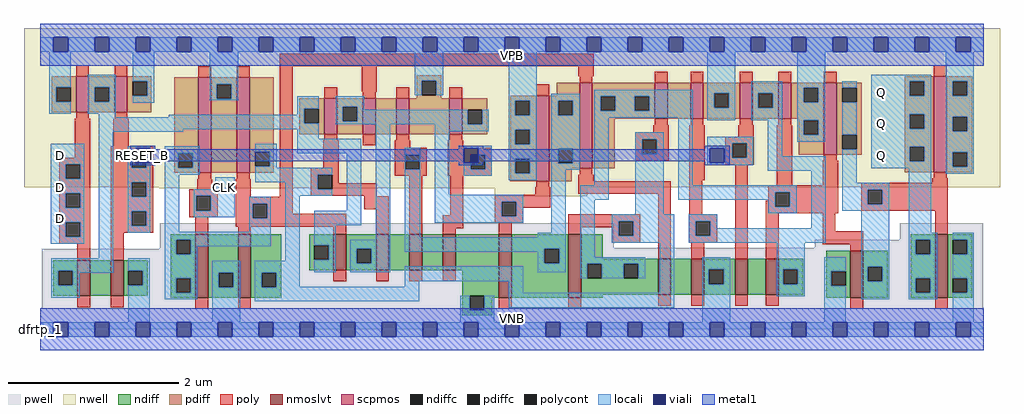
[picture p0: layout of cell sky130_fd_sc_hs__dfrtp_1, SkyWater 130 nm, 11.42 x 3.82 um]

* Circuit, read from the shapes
.subckt sky130_fd_sc_hs__dfrtp_1 CLK D RESET_B VGND VNB VPB VPWR Q
XM1 n1 D n2 VNB sky130_fd_pr__nfet_01v8_lvt w=0.42 l=0.15
XM2 VGND RESET_B n1 VNB sky130_fd_pr__nfet_01v8_lvt w=0.42 l=0.15
XM3 VGND CLK n3 VNB sky130_fd_pr__nfet_01v8_lvt w=0.74 l=0.15
XM4 n4 n3 VGND VNB sky130_fd_pr__nfet_01v8_lvt w=0.74 l=0.15
XM5 n5 n3 n2 VNB sky130_fd_pr__nfet_01v8_lvt w=0.42 l=0.15
XM6 n6 n4 n5 VNB sky130_fd_pr__nfet_01v8_lvt w=0.42 l=0.15
XM7 n7 n8 n6 VNB sky130_fd_pr__nfet_01v8_lvt w=0.42 l=0.15
XM8 VGND RESET_B n7 VNB sky130_fd_pr__nfet_01v8_lvt w=0.42 l=0.15
XM9 n8 n5 VGND VNB sky130_fd_pr__nfet_01v8_lvt w=0.74 l=0.15
XM10 n9 n4 n8 VNB sky130_fd_pr__nfet_01v8_lvt w=0.74 l=0.15
XM11 n10 n3 n9 VNB sky130_fd_pr__nfet_01v8_lvt w=0.42 l=0.15
XM12 VGND n11 n10 VNB sky130_fd_pr__nfet_01v8_lvt w=0.42 l=0.15
XM13 n12 RESET_B VGND VNB sky130_fd_pr__nfet_01v8_lvt w=0.42 l=0.15
XM14 n11 n9 n12 VNB sky130_fd_pr__nfet_01v8_lvt w=0.42 l=0.15
XM15 n13 n9 VGND VNB sky130_fd_pr__nfet_01v8_lvt w=0.55 l=0.15
XM16 VGND n13 Q VNB sky130_fd_pr__nfet_01v8_lvt w=0.74 l=0.15
XM17 n2 D VPWR VPB sky130_fd_pr__pfet_01v8 w=0.42 l=0.15
XM18 VPWR RESET_B n2 VPB sky130_fd_pr__pfet_01v8 w=0.42 l=0.15
XM19 VPWR CLK n3 VPB sky130_fd_pr__pfet_01v8 w=1.12 l=0.15
XM20 n4 n3 VPWR VPB sky130_fd_pr__pfet_01v8 w=1.12 l=0.15
XM21 n5 n4 n2 VPB sky130_fd_pr__pfet_01v8 w=0.42 l=0.15
XM22 n14 n3 n5 VPB sky130_fd_pr__pfet_01v8 w=0.42 l=0.15
XM23 VPWR n8 n14 VPB sky130_fd_pr__pfet_01v8 w=0.42 l=0.15
XM24 n5 RESET_B VPWR VPB sky130_fd_pr__pfet_01v8 w=0.42 l=0.15
XM25 n8 n5 VPWR VPB sky130_fd_pr__pfet_01v8 w=1 l=0.15
XM26 n9 n3 n8 VPB sky130_fd_pr__pfet_01v8 w=1 l=0.15
XM27 n15 n4 n9 VPB sky130_fd_pr__pfet_01v8 w=0.42 l=0.15
XM28 VPWR n11 n15 VPB sky130_fd_pr__pfet_01v8 w=0.42 l=0.15
XM29 n11 RESET_B VPWR VPB sky130_fd_pr__pfet_01v8 w=0.42 l=0.15
XM30 VPWR n9 n11 VPB sky130_fd_pr__pfet_01v8 w=0.42 l=0.15
XM31 n13 n9 VPWR VPB sky130_fd_pr__pfet_01v8 w=0.84 l=0.15
XM32 VPWR n13 Q VPB sky130_fd_pr__pfet_01v8 w=1.12 l=0.15
.ends

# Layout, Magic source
magic
tech sky130A
magscale 1 2
<< nwell >>
rect -38 332 2246 704
rect 278 330 1280 332
rect 1064 311 1280 330
<< pwell >>
rect 280 191 1342 248
rect 2011 210 2207 248
rect 1813 191 2207 210
rect 280 188 2207 191
rect 4 49 2207 188
rect 0 0 2208 49
<< scpmos >>
rect 84 508 114 592
rect 174 508 204 592
rect 370 366 400 590
rect 460 366 490 590
rect 665 457 695 541
rect 755 457 785 541
rect 833 457 863 541
rect 957 457 987 541
rect 1161 347 1191 547
rect 1262 377 1292 577
rect 1438 493 1468 577
rect 1522 493 1552 577
rect 1637 493 1667 577
rect 1727 493 1757 577
rect 1834 409 1864 577
rect 2091 368 2121 592
<< nmoslvt >>
rect 87 78 117 162
rect 165 78 195 162
rect 363 74 393 222
rect 463 74 493 222
rect 686 138 716 222
rect 786 138 816 222
rect 864 138 894 222
rect 942 138 972 222
rect 1073 74 1103 222
rect 1236 74 1266 222
rect 1446 81 1476 165
rect 1524 81 1554 165
rect 1626 81 1656 165
rect 1698 81 1728 165
rect 1896 74 1926 184
rect 2094 74 2124 222
<< ndiff >>
rect 306 210 363 222
rect 306 176 318 210
rect 352 176 363 210
rect 30 137 87 162
rect 30 103 42 137
rect 76 103 87 137
rect 30 78 87 103
rect 117 78 165 162
rect 195 137 252 162
rect 195 103 206 137
rect 240 103 252 137
rect 195 78 252 103
rect 306 120 363 176
rect 306 86 318 120
rect 352 86 363 120
rect 306 74 363 86
rect 393 132 463 222
rect 393 98 418 132
rect 452 98 463 132
rect 393 74 463 98
rect 493 132 564 222
rect 629 197 686 222
rect 629 163 641 197
rect 675 163 686 197
rect 629 138 686 163
rect 716 189 786 222
rect 716 155 741 189
rect 775 155 786 189
rect 716 138 786 155
rect 816 138 864 222
rect 894 138 942 222
rect 972 138 1073 222
rect 493 98 518 132
rect 552 98 564 132
rect 493 74 564 98
rect 987 79 1073 138
rect 987 45 1005 79
rect 1039 74 1073 79
rect 1103 188 1236 222
rect 1103 154 1180 188
rect 1214 154 1236 188
rect 1103 74 1236 154
rect 1266 165 1316 222
rect 2037 210 2094 222
rect 1266 153 1446 165
rect 1266 119 1280 153
rect 1314 119 1366 153
rect 1400 119 1446 153
rect 1266 81 1446 119
rect 1476 81 1524 165
rect 1554 140 1626 165
rect 1554 106 1565 140
rect 1599 106 1626 140
rect 1554 81 1626 106
rect 1656 81 1698 165
rect 1728 140 1785 165
rect 1728 106 1739 140
rect 1773 106 1785 140
rect 1728 81 1785 106
rect 1839 136 1896 184
rect 1839 102 1851 136
rect 1885 102 1896 136
rect 1266 74 1316 81
rect 1039 45 1058 74
rect 1839 74 1896 102
rect 1926 146 1983 184
rect 1926 112 1937 146
rect 1971 112 1983 146
rect 1926 74 1983 112
rect 2037 176 2049 210
rect 2083 176 2094 210
rect 2037 120 2094 176
rect 2037 86 2049 120
rect 2083 86 2094 120
rect 2037 74 2094 86
rect 2124 210 2181 222
rect 2124 176 2135 210
rect 2169 176 2181 210
rect 2124 120 2181 176
rect 2124 86 2135 120
rect 2169 86 2181 120
rect 2124 74 2181 86
rect 987 33 1058 45
<< pdiff >>
rect 27 567 84 592
rect 27 533 37 567
rect 71 533 84 567
rect 27 508 84 533
rect 114 567 174 592
rect 114 533 127 567
rect 161 533 174 567
rect 114 508 174 533
rect 204 580 260 592
rect 204 546 217 580
rect 251 546 260 580
rect 204 508 260 546
rect 314 412 370 590
rect 314 378 323 412
rect 357 378 370 412
rect 314 366 370 378
rect 400 574 460 590
rect 400 540 413 574
rect 447 540 460 574
rect 400 366 460 540
rect 490 415 546 590
rect 490 381 503 415
rect 537 381 546 415
rect 490 366 546 381
rect 881 582 939 594
rect 881 548 893 582
rect 927 548 939 582
rect 2023 580 2091 592
rect 881 541 939 548
rect 1209 547 1262 577
rect 606 516 665 541
rect 606 482 618 516
rect 652 482 665 516
rect 606 457 665 482
rect 695 521 755 541
rect 695 487 708 521
rect 742 487 755 521
rect 695 457 755 487
rect 785 457 833 541
rect 863 457 957 541
rect 987 514 1046 541
rect 987 480 1000 514
rect 1034 480 1046 514
rect 987 457 1046 480
rect 1100 535 1161 547
rect 1100 501 1112 535
rect 1146 501 1161 535
rect 1100 467 1161 501
rect 1100 433 1112 467
rect 1146 433 1161 467
rect 1100 399 1161 433
rect 1100 365 1112 399
rect 1146 365 1161 399
rect 1100 347 1161 365
rect 1191 535 1262 547
rect 1191 501 1212 535
rect 1246 501 1262 535
rect 1191 423 1262 501
rect 1191 389 1212 423
rect 1246 389 1262 423
rect 1191 377 1262 389
rect 1292 545 1438 577
rect 1292 511 1312 545
rect 1346 511 1391 545
rect 1425 511 1438 545
rect 1292 493 1438 511
rect 1468 493 1522 577
rect 1552 552 1637 577
rect 1552 518 1577 552
rect 1611 518 1637 552
rect 1552 493 1637 518
rect 1667 552 1727 577
rect 1667 518 1680 552
rect 1714 518 1727 552
rect 1667 493 1727 518
rect 1757 565 1834 577
rect 1757 531 1787 565
rect 1821 531 1834 565
rect 1757 493 1834 531
rect 1292 377 1345 493
rect 1775 489 1834 493
rect 1191 347 1244 377
rect 1775 455 1787 489
rect 1821 455 1834 489
rect 1775 409 1834 455
rect 1864 565 1923 577
rect 1864 531 1877 565
rect 1911 531 1923 565
rect 1864 455 1923 531
rect 1864 421 1877 455
rect 1911 421 1923 455
rect 1864 409 1923 421
rect 2023 546 2035 580
rect 2069 546 2091 580
rect 2023 503 2091 546
rect 2023 469 2035 503
rect 2069 469 2091 503
rect 2023 427 2091 469
rect 2023 393 2035 427
rect 2069 393 2091 427
rect 2023 368 2091 393
rect 2121 580 2181 592
rect 2121 546 2135 580
rect 2169 546 2181 580
rect 2121 497 2181 546
rect 2121 463 2135 497
rect 2169 463 2181 497
rect 2121 414 2181 463
rect 2121 380 2135 414
rect 2169 380 2181 414
rect 2121 368 2181 380
<< ndiffc >>
rect 318 176 352 210
rect 42 103 76 137
rect 206 103 240 137
rect 318 86 352 120
rect 418 98 452 132
rect 641 163 675 197
rect 741 155 775 189
rect 518 98 552 132
rect 1005 45 1039 79
rect 1180 154 1214 188
rect 1280 119 1314 153
rect 1366 119 1400 153
rect 1565 106 1599 140
rect 1739 106 1773 140
rect 1851 102 1885 136
rect 1937 112 1971 146
rect 2049 176 2083 210
rect 2049 86 2083 120
rect 2135 176 2169 210
rect 2135 86 2169 120
<< pdiffc >>
rect 37 533 71 567
rect 127 533 161 567
rect 217 546 251 580
rect 323 378 357 412
rect 413 540 447 574
rect 503 381 537 415
rect 893 548 927 582
rect 618 482 652 516
rect 708 487 742 521
rect 1000 480 1034 514
rect 1112 501 1146 535
rect 1112 433 1146 467
rect 1112 365 1146 399
rect 1212 501 1246 535
rect 1212 389 1246 423
rect 1312 511 1346 545
rect 1391 511 1425 545
rect 1577 518 1611 552
rect 1680 518 1714 552
rect 1787 531 1821 565
rect 1787 455 1821 489
rect 1877 531 1911 565
rect 1877 421 1911 455
rect 2035 546 2069 580
rect 2035 469 2069 503
rect 2035 393 2069 427
rect 2135 546 2169 580
rect 2135 463 2169 497
rect 2135 380 2169 414
<< poly >>
rect 84 592 114 618
rect 174 592 204 618
rect 370 590 400 616
rect 460 590 490 616
rect 561 615 1295 645
rect 84 493 114 508
rect 174 493 204 508
rect 81 402 117 493
rect 171 428 207 493
rect 44 386 117 402
rect 44 352 60 386
rect 94 352 117 386
rect 44 318 117 352
rect 44 284 60 318
rect 94 284 117 318
rect 44 250 117 284
rect 44 216 60 250
rect 94 216 117 250
rect 44 200 117 216
rect 87 162 117 200
rect 165 412 264 428
rect 165 378 214 412
rect 248 378 264 412
rect 165 344 264 378
rect 370 351 400 366
rect 460 351 490 366
rect 165 310 214 344
rect 248 310 264 344
rect 367 328 403 351
rect 165 276 264 310
rect 165 242 214 276
rect 248 242 264 276
rect 349 312 415 328
rect 349 278 365 312
rect 399 278 415 312
rect 349 262 415 278
rect 457 310 493 351
rect 561 310 591 615
rect 665 541 695 567
rect 752 556 788 615
rect 1259 592 1295 615
rect 755 541 785 556
rect 833 541 863 567
rect 1262 577 1292 592
rect 1438 577 1468 603
rect 1522 577 1552 603
rect 1637 577 1667 603
rect 1727 577 1757 603
rect 1834 577 1864 603
rect 2091 592 2121 618
rect 957 541 987 567
rect 1161 547 1191 573
rect 665 442 695 457
rect 662 378 698 442
rect 755 431 785 457
rect 833 442 863 457
rect 957 442 987 457
rect 830 425 866 442
rect 954 425 990 442
rect 830 409 904 425
rect 633 362 699 378
rect 633 328 649 362
rect 683 342 699 362
rect 830 375 854 409
rect 888 375 904 409
rect 830 359 904 375
rect 954 409 1057 425
rect 954 375 1007 409
rect 1041 375 1057 409
rect 954 359 1057 375
rect 683 328 788 342
rect 633 312 788 328
rect 457 294 591 310
rect 165 226 264 242
rect 165 162 195 226
rect 363 222 393 262
rect 457 260 497 294
rect 531 270 591 294
rect 758 311 788 312
rect 758 281 816 311
rect 531 260 716 270
rect 457 240 716 260
rect 463 222 493 240
rect 686 222 716 240
rect 786 222 816 281
rect 864 222 894 359
rect 960 267 990 359
rect 1438 478 1468 493
rect 1522 478 1552 493
rect 1637 478 1667 493
rect 1727 478 1757 493
rect 1435 461 1471 478
rect 1393 445 1471 461
rect 1393 411 1409 445
rect 1443 411 1471 445
rect 1393 395 1471 411
rect 1262 362 1292 377
rect 1259 347 1295 362
rect 1519 349 1555 478
rect 1634 451 1670 478
rect 1603 435 1670 451
rect 1603 401 1619 435
rect 1653 401 1670 435
rect 1603 385 1670 401
rect 1161 332 1191 347
rect 1158 315 1194 332
rect 1259 317 1476 347
rect 942 237 990 267
rect 1064 299 1194 315
rect 1064 265 1080 299
rect 1114 285 1194 299
rect 1114 265 1130 285
rect 1064 249 1130 265
rect 1236 253 1404 269
rect 942 222 972 237
rect 1073 222 1103 249
rect 1236 239 1354 253
rect 1236 222 1266 239
rect 87 52 117 78
rect 165 52 195 78
rect 686 112 716 138
rect 786 112 816 138
rect 864 112 894 138
rect 942 112 972 138
rect 363 48 393 74
rect 463 48 493 74
rect 1338 219 1354 239
rect 1388 219 1404 253
rect 1338 203 1404 219
rect 1446 165 1476 317
rect 1519 269 1549 349
rect 1518 253 1584 269
rect 1518 219 1534 253
rect 1568 219 1584 253
rect 1518 203 1584 219
rect 1524 165 1554 203
rect 1626 165 1656 385
rect 1724 337 1760 478
rect 1834 394 1864 409
rect 1831 337 1867 394
rect 2091 353 2121 368
rect 2088 343 2124 353
rect 1704 321 1867 337
rect 1704 301 1720 321
rect 1698 287 1720 301
rect 1754 287 1867 321
rect 1698 271 1867 287
rect 1921 327 2124 343
rect 1921 293 1937 327
rect 1971 293 2124 327
rect 1921 277 2124 293
rect 1698 165 1728 271
rect 1831 229 1861 271
rect 1831 199 1926 229
rect 2094 222 2124 277
rect 1896 184 1926 199
rect 1073 48 1103 74
rect 1236 48 1266 74
rect 1446 55 1476 81
rect 1524 55 1554 81
rect 1626 55 1656 81
rect 1698 55 1728 81
rect 1896 48 1926 74
rect 2094 48 2124 74
<< polycont >>
rect 60 352 94 386
rect 60 284 94 318
rect 60 216 94 250
rect 214 378 248 412
rect 214 310 248 344
rect 214 242 248 276
rect 365 278 399 312
rect 649 328 683 362
rect 854 375 888 409
rect 1007 375 1041 409
rect 497 260 531 294
rect 1409 411 1443 445
rect 1619 401 1653 435
rect 1080 265 1114 299
rect 1354 219 1388 253
rect 1534 219 1568 253
rect 1720 287 1754 321
rect 1937 293 1971 327
<< locali >>
rect 0 649 31 683
rect 65 649 127 683
rect 161 649 223 683
rect 257 649 319 683
rect 353 649 415 683
rect 449 649 511 683
rect 545 649 607 683
rect 641 649 703 683
rect 737 649 799 683
rect 833 649 895 683
rect 929 649 991 683
rect 1025 649 1087 683
rect 1121 649 1183 683
rect 1217 649 1279 683
rect 1313 649 1375 683
rect 1409 649 1471 683
rect 1505 649 1567 683
rect 1601 649 1663 683
rect 1697 649 1759 683
rect 1793 649 1855 683
rect 1889 649 1951 683
rect 1985 649 2047 683
rect 2081 649 2143 683
rect 2177 649 2208 683
rect 21 567 71 649
rect 21 533 37 567
rect 21 504 71 533
rect 111 567 177 596
rect 111 533 127 567
rect 161 533 177 567
rect 111 504 177 533
rect 217 580 267 649
rect 251 546 267 580
rect 217 530 267 546
rect 397 574 463 649
rect 397 540 413 574
rect 447 540 463 574
rect 877 582 943 649
rect 877 548 893 582
rect 927 548 943 582
rect 397 536 463 540
rect 137 496 177 504
rect 602 516 652 545
rect 602 502 618 516
rect 301 496 618 502
rect 137 482 618 496
rect 137 468 652 482
rect 692 521 758 545
rect 692 487 708 521
rect 742 514 758 521
rect 1096 535 1162 649
rect 742 487 1000 514
rect 692 480 1000 487
rect 1034 480 1050 514
rect 137 462 335 468
rect 25 386 103 434
rect 25 352 60 386
rect 94 352 103 386
rect 25 318 103 352
rect 25 284 60 318
rect 94 284 103 318
rect 25 250 103 284
rect 25 216 60 250
rect 94 216 103 250
rect 25 200 103 216
rect 137 166 171 462
rect 602 446 652 468
rect 205 424 257 428
rect 205 412 223 424
rect 205 378 214 412
rect 248 378 257 390
rect 205 344 257 378
rect 205 310 214 344
rect 248 310 257 344
rect 205 276 257 310
rect 205 242 214 276
rect 248 242 257 276
rect 205 226 257 242
rect 291 412 373 428
rect 291 378 323 412
rect 357 378 373 412
rect 291 362 373 378
rect 503 415 553 434
rect 537 381 553 415
rect 602 412 751 446
rect 503 378 553 381
rect 503 362 683 378
rect 291 228 325 362
rect 409 328 455 356
rect 503 344 649 362
rect 359 312 455 328
rect 359 278 365 312
rect 399 278 455 312
rect 573 328 649 344
rect 573 312 683 328
rect 359 262 455 278
rect 489 294 539 310
rect 489 260 497 294
rect 531 260 539 294
rect 489 228 539 260
rect 291 210 539 228
rect 291 176 318 210
rect 352 194 539 210
rect 352 176 368 194
rect 26 137 171 166
rect 26 103 42 137
rect 76 132 171 137
rect 206 137 256 166
rect 76 103 92 132
rect 26 74 92 103
rect 240 103 256 137
rect 206 17 256 103
rect 291 120 368 176
rect 573 160 607 312
rect 717 278 751 412
rect 291 86 318 120
rect 352 86 368 120
rect 291 70 368 86
rect 402 132 468 160
rect 402 98 418 132
rect 452 98 468 132
rect 402 17 468 98
rect 502 132 607 160
rect 641 244 751 278
rect 641 197 691 244
rect 785 210 819 480
rect 923 464 1050 480
rect 1096 501 1112 535
rect 1146 501 1162 535
rect 1096 467 1162 501
rect 675 163 691 197
rect 641 134 691 163
rect 725 189 819 210
rect 725 155 741 189
rect 775 155 819 189
rect 853 409 889 425
rect 853 375 854 409
rect 888 375 889 409
rect 853 215 889 375
rect 923 315 957 464
rect 1096 433 1112 467
rect 1146 433 1162 467
rect 991 424 1057 430
rect 1025 409 1057 424
rect 991 375 1007 390
rect 1041 375 1057 409
rect 991 359 1057 375
rect 1096 399 1162 433
rect 1096 365 1112 399
rect 1146 365 1162 399
rect 1096 349 1162 365
rect 1196 535 1262 551
rect 1196 501 1212 535
rect 1246 501 1262 535
rect 1196 423 1262 501
rect 1196 389 1212 423
rect 1246 389 1262 423
rect 1196 373 1262 389
rect 1296 545 1527 561
rect 1296 511 1312 545
rect 1346 511 1391 545
rect 1425 511 1527 545
rect 1296 495 1527 511
rect 923 299 1130 315
rect 923 265 1080 299
rect 1114 265 1130 299
rect 923 249 1130 265
rect 1196 226 1230 373
rect 1296 337 1330 495
rect 1164 215 1230 226
rect 853 188 1230 215
rect 853 181 1180 188
rect 725 134 819 155
rect 1164 154 1180 181
rect 1214 154 1230 188
rect 502 98 518 132
rect 552 100 607 132
rect 853 113 1130 147
rect 1164 133 1230 154
rect 1264 303 1330 337
rect 1393 445 1459 461
rect 1393 411 1409 445
rect 1443 411 1459 445
rect 1264 169 1298 303
rect 1393 269 1459 411
rect 1493 337 1527 495
rect 1561 552 1627 649
rect 1561 518 1577 552
rect 1611 518 1627 552
rect 1561 489 1627 518
rect 1664 552 1737 581
rect 1664 518 1680 552
rect 1714 518 1737 552
rect 1664 489 1737 518
rect 1561 435 1669 451
rect 1561 424 1619 435
rect 1561 390 1567 424
rect 1601 401 1619 424
rect 1653 401 1669 435
rect 1601 390 1669 401
rect 1561 384 1669 390
rect 1703 405 1737 489
rect 1771 565 1837 649
rect 1771 531 1787 565
rect 1821 531 1837 565
rect 1771 489 1837 531
rect 1771 455 1787 489
rect 1821 455 1837 489
rect 1771 439 1837 455
rect 1877 565 1911 581
rect 1877 455 1911 531
rect 1703 371 1838 405
rect 1493 321 1770 337
rect 1493 303 1720 321
rect 1704 287 1720 303
rect 1754 287 1770 321
rect 1704 271 1770 287
rect 1338 253 1484 269
rect 1338 219 1354 253
rect 1388 219 1484 253
rect 1338 203 1484 219
rect 1518 253 1584 269
rect 1518 219 1534 253
rect 1568 237 1584 253
rect 1804 237 1838 371
rect 1877 343 1911 421
rect 1945 580 2085 596
rect 1945 546 2035 580
rect 2069 546 2085 580
rect 1945 503 2085 546
rect 1945 469 2035 503
rect 2069 469 2085 503
rect 1945 427 2085 469
rect 1945 393 2035 427
rect 2069 393 2085 427
rect 1945 377 2085 393
rect 1877 327 1987 343
rect 1877 293 1937 327
rect 1971 293 1987 327
rect 1877 277 1987 293
rect 1568 219 1838 237
rect 1518 203 1838 219
rect 1264 153 1416 169
rect 1264 119 1280 153
rect 1314 119 1366 153
rect 1400 119 1416 153
rect 853 100 887 113
rect 552 98 887 100
rect 502 66 887 98
rect 1096 85 1130 113
rect 1450 85 1484 203
rect 983 45 1005 79
rect 1039 45 1062 79
rect 1096 51 1484 85
rect 1549 140 1615 169
rect 1549 106 1565 140
rect 1599 106 1615 140
rect 983 17 1062 45
rect 1549 17 1615 106
rect 1723 140 1789 203
rect 1723 106 1739 140
rect 1773 106 1789 140
rect 1723 77 1789 106
rect 1835 136 1885 169
rect 1835 102 1851 136
rect 1835 17 1885 102
rect 1921 146 1987 277
rect 1921 112 1937 146
rect 1971 112 1987 146
rect 1921 70 1987 112
rect 2033 226 2085 377
rect 2119 580 2185 649
rect 2119 546 2135 580
rect 2169 546 2185 580
rect 2119 497 2185 546
rect 2119 463 2135 497
rect 2169 463 2185 497
rect 2119 414 2185 463
rect 2119 380 2135 414
rect 2169 380 2185 414
rect 2119 364 2185 380
rect 2033 210 2099 226
rect 2033 176 2049 210
rect 2083 176 2099 210
rect 2033 120 2099 176
rect 2033 86 2049 120
rect 2083 86 2099 120
rect 2033 70 2099 86
rect 2135 210 2185 226
rect 2169 176 2185 210
rect 2135 120 2185 176
rect 2169 86 2185 120
rect 2135 17 2185 86
rect 0 -17 31 17
rect 65 -17 127 17
rect 161 -17 223 17
rect 257 -17 319 17
rect 353 -17 415 17
rect 449 -17 511 17
rect 545 -17 607 17
rect 641 -17 703 17
rect 737 -17 799 17
rect 833 -17 895 17
rect 929 -17 991 17
rect 1025 -17 1087 17
rect 1121 -17 1183 17
rect 1217 -17 1279 17
rect 1313 -17 1375 17
rect 1409 -17 1471 17
rect 1505 -17 1567 17
rect 1601 -17 1663 17
rect 1697 -17 1759 17
rect 1793 -17 1855 17
rect 1889 -17 1951 17
rect 1985 -17 2047 17
rect 2081 -17 2143 17
rect 2177 -17 2208 17
<< viali >>
rect 31 649 65 683
rect 127 649 161 683
rect 223 649 257 683
rect 319 649 353 683
rect 415 649 449 683
rect 511 649 545 683
rect 607 649 641 683
rect 703 649 737 683
rect 799 649 833 683
rect 895 649 929 683
rect 991 649 1025 683
rect 1087 649 1121 683
rect 1183 649 1217 683
rect 1279 649 1313 683
rect 1375 649 1409 683
rect 1471 649 1505 683
rect 1567 649 1601 683
rect 1663 649 1697 683
rect 1759 649 1793 683
rect 1855 649 1889 683
rect 1951 649 1985 683
rect 2047 649 2081 683
rect 2143 649 2177 683
rect 223 412 257 424
rect 223 390 248 412
rect 248 390 257 412
rect 991 409 1025 424
rect 991 390 1007 409
rect 1007 390 1025 409
rect 1567 390 1601 424
rect 31 -17 65 17
rect 127 -17 161 17
rect 223 -17 257 17
rect 319 -17 353 17
rect 415 -17 449 17
rect 511 -17 545 17
rect 607 -17 641 17
rect 703 -17 737 17
rect 799 -17 833 17
rect 895 -17 929 17
rect 991 -17 1025 17
rect 1087 -17 1121 17
rect 1183 -17 1217 17
rect 1279 -17 1313 17
rect 1375 -17 1409 17
rect 1471 -17 1505 17
rect 1567 -17 1601 17
rect 1663 -17 1697 17
rect 1759 -17 1793 17
rect 1855 -17 1889 17
rect 1951 -17 1985 17
rect 2047 -17 2081 17
rect 2143 -17 2177 17
<< metal1 >>
rect 0 683 2208 715
rect 0 649 31 683
rect 65 649 127 683
rect 161 649 223 683
rect 257 649 319 683
rect 353 649 415 683
rect 449 649 511 683
rect 545 649 607 683
rect 641 649 703 683
rect 737 649 799 683
rect 833 649 895 683
rect 929 649 991 683
rect 1025 649 1087 683
rect 1121 649 1183 683
rect 1217 649 1279 683
rect 1313 649 1375 683
rect 1409 649 1471 683
rect 1505 649 1567 683
rect 1601 649 1663 683
rect 1697 649 1759 683
rect 1793 649 1855 683
rect 1889 649 1951 683
rect 1985 649 2047 683
rect 2081 649 2143 683
rect 2177 649 2208 683
rect 0 617 2208 649
rect 211 424 269 430
rect 211 390 223 424
rect 257 421 269 424
rect 979 424 1037 430
rect 979 421 991 424
rect 257 393 991 421
rect 257 390 269 393
rect 211 384 269 390
rect 979 390 991 393
rect 1025 421 1037 424
rect 1555 424 1613 430
rect 1555 421 1567 424
rect 1025 393 1567 421
rect 1025 390 1037 393
rect 979 384 1037 390
rect 1555 390 1567 393
rect 1601 390 1613 424
rect 1555 384 1613 390
rect 0 17 2208 49
rect 0 -17 31 17
rect 65 -17 127 17
rect 161 -17 223 17
rect 257 -17 319 17
rect 353 -17 415 17
rect 449 -17 511 17
rect 545 -17 607 17
rect 641 -17 703 17
rect 737 -17 799 17
rect 833 -17 895 17
rect 929 -17 991 17
rect 1025 -17 1087 17
rect 1121 -17 1183 17
rect 1217 -17 1279 17
rect 1313 -17 1375 17
rect 1409 -17 1471 17
rect 1505 -17 1567 17
rect 1601 -17 1663 17
rect 1697 -17 1759 17
rect 1793 -17 1855 17
rect 1889 -17 1951 17
rect 1985 -17 2047 17
rect 2081 -17 2143 17
rect 2177 -17 2208 17
rect 0 -49 2208 -17
<< labels >>
rlabel comment s 0 0 0 0 4 dfrtp_1
flabel pwell s 0 0 2208 49 0 FreeSans 200 0 0 0 VNB
port 5 nsew ground bidirectional
flabel nwell s 0 617 2208 666 0 FreeSans 200 0 0 0 VPB
port 6 nsew power bidirectional
flabel metal1 s 223 390 257 424 0 FreeSans 340 0 0 0 RESET_B
port 3 nsew signal input
flabel metal1 s 0 617 2208 666 0 FreeSans 340 0 0 0 VPWR
port 7 nsew power bidirectional
flabel metal1 s 0 0 2208 49 0 FreeSans 340 0 0 0 VGND
port 4 nsew ground bidirectional
flabel locali s 1951 390 1985 424 0 FreeSans 340 0 0 0 Q
port 8 nsew signal output
flabel locali s 1951 464 1985 498 0 FreeSans 340 0 0 0 Q
port 8 nsew signal output
flabel locali s 1951 538 1985 572 0 FreeSans 340 0 0 0 Q
port 8 nsew signal output
flabel locali s 415 316 449 350 0 FreeSans 340 0 0 0 CLK
port 1 nsew clock input
flabel locali s 31 242 65 276 0 FreeSans 340 0 0 0 D
port 2 nsew signal input
flabel locali s 31 316 65 350 0 FreeSans 340 0 0 0 D
port 2 nsew signal input
flabel locali s 31 390 65 424 0 FreeSans 340 0 0 0 D
port 2 nsew signal input
<< properties >>
string LEFsite unit
string LEFclass CORE
string FIXED_BBOX 0 0 2208 666
string GDS_FILE $PDKPATH/libs.ref/sky130_fd_sc_hs/gds/sky130_fd_sc_hs.gds
string LEFsymmetry X Y R90
string GDS_END 429602
string GDS_START 413260
<< end >>
